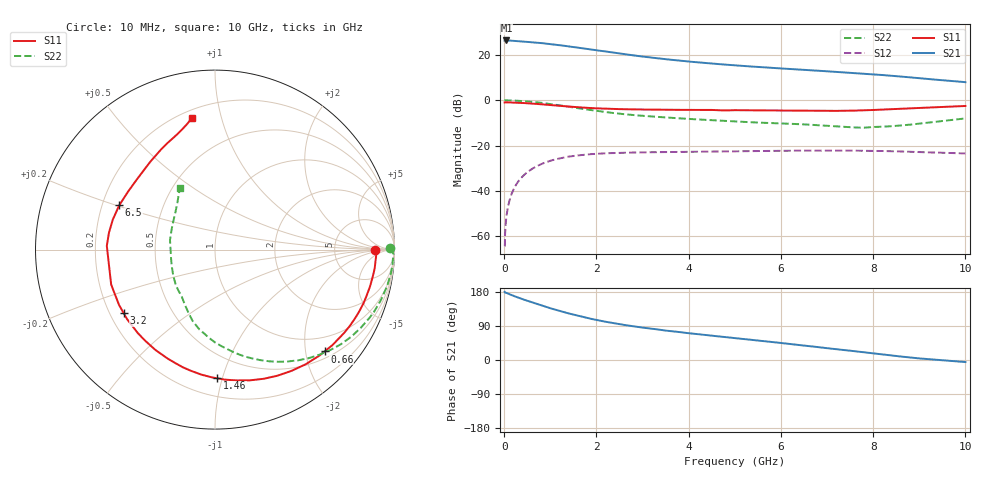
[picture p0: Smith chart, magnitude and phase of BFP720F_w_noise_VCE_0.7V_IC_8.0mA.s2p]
! Infineon Technologies  Discrete & RF Semiconductors
! BFP720F
! VCE =  0.7 V,  IC =  8.0 mA
! Common Emitter S-Parameters:  Jan 2016
# GHz  S  MA  R  50
!  f  S11  S21  S12  S22
! GHz  MAG  ANG  MAG  ANG  MAG  ANG  MAG  ANG
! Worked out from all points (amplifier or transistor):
!   233 points, 10 MHz to 10 GHz, reference 50 ohm
!   highest |S21| = 26.4 dB at 50 MHz (marker M1)
!   |S21| within 3 dB of that: start of sweep to 1.548 GHz
!   unconditionally stable (mu >= 1): start of sweep to 12.09 MHz; 7.357 GHz to end of sweep
!   at 200 MHz: K = 0.05, MSG = 32.9 dB, |S12| = -39.6 dB
!   at 1.74 GHz: K = 0.28, MSG = 23.4 dB, |S12| = -24.1 dB
!   at 10 GHz: K = 1.31, MAG = 12.4 dB, |S12| = -23.5 dB
!   lowest NFmin = 0.50 dB at 450 MHz
!   S11 on the Smith chart (normalised r, x): 10 MHz: 18, -1; 660 MHz: 0.64, -2.40; 1.46 GHz: 0.33, -0.96; 3.2 GHz: 0.26, -0.30; 6.5 GHz: 0.27, +0.20; 10 GHz: 0.25, +0.81
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0.01  0.8922 -0.2  20.65 179.8  0.0006 0.6  0.9774 0.5
0.02  0.8996 -1.4  20.6 177.7  0.0011 90.1  0.9948 -1.5
0.05  0.897 -3.4  20.85 177.2  0.0027 87.8  0.9929 -2.4
0.17  0.8896 -11.4  20.56 170.9  0.009 83.4  0.9878 -8.1
0.34  0.8753 -22.5  19.94 163.1  0.0178 77.1  0.9683 -16.2
0.66  0.8335 -42.9  18.75 149.9  0.0329 65.0  0.9088 -30.8
0.8  0.8144 -51.7  18.31 144.2  0.0387 60.3  0.8777 -36.9
1  0.7839 -63.7  17.34 136.6  0.0461 53.6  0.8248 -45.3
1.22  0.7505 -76.1  16.3 128.9  0.0524 47.1  0.7658 -53.8
1.46  0.7175 -88.9  15.15 121.0  0.058 40.7  0.7021 -62.6
1.68  0.6907 -100.1  14.14 114.2  0.0619 35.5  0.6479 -70.1
2.02  0.6602 -114.2  12.6 105.2  0.0659 28.7  0.5777 -80.2
2.38  0.6408 -126.5  11.14 97.1  0.0685 22.8  0.5203 -89.4
2.8  0.627 -137.4  9.752 88.9  0.07 17.7  0.4697 -97.6
3.2  0.6201 -145.1  8.719 82.6  0.0711 13.9  0.4378 -103.5
3.4  0.6176 -148.3  8.257 79.4  0.0715 12.2  0.4234 -106.1
4  0.6113 -156.3  7.143 70.7  0.0726 7.9  0.3861 -112.1
5.1  0.6014 176.6  5.789 56.5  0.0748 1.6  0.3364 -121.5
6.5  0.588 155.2  4.689 38.1  0.0771 -6.4  0.2936 -138.2
6.8  0.5827 149.8  4.479 34.1  0.0771 -8.2  0.281 -143.9
8.4  0.6342 118.2  3.467 11.8  0.0749 -18.1  0.2673 154.4
10  0.7458 99.8  2.505 -5.4  0.0669 -23.2  0.3968 119.8
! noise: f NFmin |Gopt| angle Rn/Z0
0.45  0.5  0.36  4  0.12
0.9  0.52  0.34  9  0.16
1.8  0.57  0.32  16  0.15
2.4  0.6  0.29  26  0.14
5.5  0.76  0.28  53  0.08
10  0.98  0.26  -98  0.16
